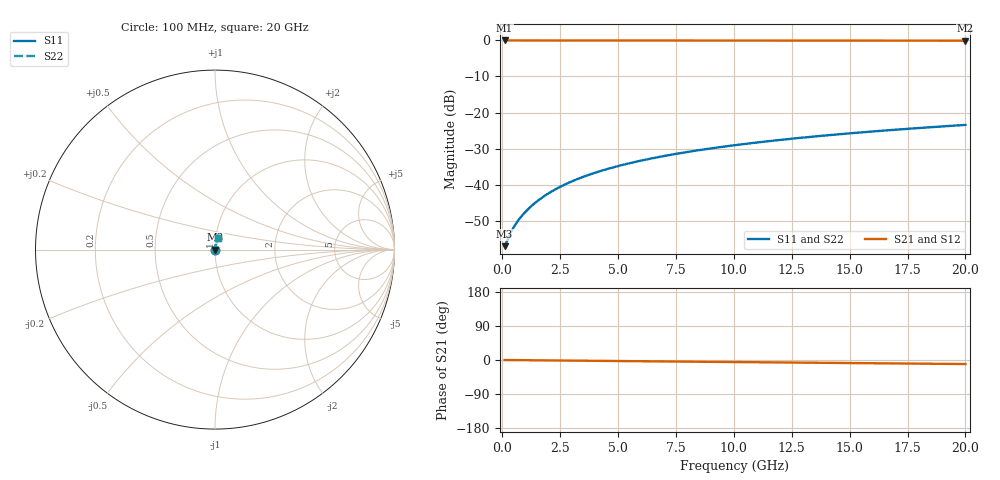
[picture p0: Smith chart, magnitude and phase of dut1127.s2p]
! Touchstone file exported from HFSS 2026.1.0
!  File:  C:/ffzhzh/LocalFiles/Ansys_Project_Files/temp_train_TMRDL_1127_1783161709_18472.aedt
!  Generated:  06:43:02 PM Jul  4, 2026
!  Design:  TMRDL
!  Project:  temp_train_TMRDL_1127_1783161709_18472
! Variables:
!  h_bsmrdl = 2um
!  h_ox = 20um
!  h_rdl = 5um
!  h_sub = 80um
!  h_tmrdl = 3.12um
!  h_tsv = 80um
!  h_via = 3um
!  l_bsmrdl = 300um
!  l_sub = 562.92um
!  l_tmrdl = 162.92um
!  m_sub = 200um
!  pitch = 25.47um
!  r_tsv = 6um
!  s_tmrdl = 10um
!  w_bsmrdl = 18um
!  w_sub = 500um
!  w_tmrdl = 16.86um
!  x_tsv_center1 = 171.35um
!  x_tsv_center2 = 489.35um
!  x_tsv_center3 = 669.13um
!  x_tsv_center4 = 987.13um
!  x_tsv_center5 = 1166.91um
!  x_tsv_center6 = 1484.91um
# GHz S MA R 50.000000
! Terminal data exported
! Port[1] = TM_RDL1_1_T1
! Port[2] = TM_RDL1_1_T2
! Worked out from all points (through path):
!   200 points, 100 MHz to 20 GHz, reference 50 ohm
!   highest |S21| = -0.01 dB at 100 MHz (marker M1); lowest = -0.1 dB at 20 GHz (marker M2)
!   group delay of S21, straight-line fit = 1.48 ps
!   lowest |S11| = -57.0 dB at 100 MHz (marker M3), VSWR 1.00, Z = 50.1 + j0.0459 ohm
!   |S11| at or under -10 dB: start of sweep to end of sweep
!   |S22| runs from -57.0 to -23.4 dB; largest |S21 - S12| = 3.3e-15
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0.1  0.001406 19.0  0.9987 -0.1  0.9987 -0.1  0.001406 19.0
! Gamma 0 0 0 0
! Port Impedance 50 0 50 0
0.4  0.00227 48.2  0.9985 -0.2  0.9985 -0.2  0.00227 48.2
0.6  0.002914 56.0  0.9984 -0.3  0.9984 -0.3  0.002914 56.0
0.7  0.003234 58.9  0.9983 -0.4  0.9983 -0.4  0.003234 58.9
0.9  0.003881 63.3  0.9983 -0.5  0.9983 -0.5  0.003881 63.3
1.1  0.004537 66.6  0.9982 -0.6  0.9982 -0.6  0.004537 66.6
1.3  0.005205 69.2  0.9982 -0.7  0.9982 -0.7  0.005205 69.2
1.5  0.005883 71.1  0.9982 -0.8  0.9982 -0.8  0.005883 71.1
1.8  0.006912 73.4  0.9981 -1.0  0.9981 -1.0  0.006912 73.4
2.3  0.008651 75.9  0.998 -1.3  0.998 -1.3  0.008651 75.8
2.9  0.01076 77.6  0.9979 -1.6  0.9979 -1.6  0.01076 77.6
3.5  0.01287 78.6  0.9978 -1.9  0.9978 -1.9  0.01287 78.6
4.2  0.01532 79.3  0.9976 -2.3  0.9976 -2.3  0.01532 79.3
5  0.01812 79.7  0.9974 -2.7  0.9974 -2.7  0.01812 79.7
5.9  0.02125 79.8  0.9972 -3.2  0.9972 -3.2  0.02125 79.8
6.8  0.02435 79.8  0.9969 -3.7  0.9969 -3.7  0.02435 79.8
8.3  0.02946 79.4  0.9964 -4.5  0.9964 -4.5  0.02946 79.4
10.1  0.03549 78.8  0.9958 -5.5  0.9958 -5.5  0.03549 78.8
11.7  0.04078 78.2  0.9953 -6.3  0.9953 -6.3  0.04078 78.2
13.4  0.04633 77.6  0.9947 -7.2  0.9947 -7.2  0.04633 77.5
16.7  0.05695 76.2  0.9935 -8.9  0.9935 -8.9  0.05695 76.2
20  0.0674 74.8  0.9923 -10.7  0.9923 -10.7  0.0674 74.8
